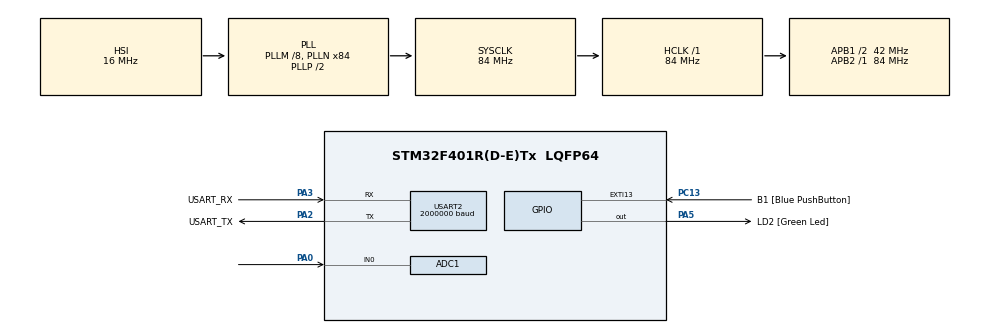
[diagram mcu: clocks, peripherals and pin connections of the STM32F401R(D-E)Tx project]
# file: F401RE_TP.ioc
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ADC1.Channel-0\#ChannelRegularConversion=ADC_CHANNEL_0
ADC1.NbrOfConversionFlag=1
ADC1.Rank-0\#ChannelRegularConversion=1
ADC1.SamplingTime-0\#ChannelRegularConversion=ADC_SAMPLETIME_3CYCLES
ADC1.master=1
Mcu.Family=STM32F4
Mcu.Name=STM32F401R(D-E)Tx
Mcu.Package=LQFP64
NVIC.ADC_IRQn=true\:0\:0\:false\:false\:true\:true\:true\:true
NVIC.EXTI15_10_IRQn=true\:0\:0\:false\:false\:true\:true\:true\:true
NVIC.PriorityGroup=NVIC_PRIORITYGROUP_1
NVIC.TIM1_UP_TIM10_IRQn=true\:1\:0\:true\:false\:true\:true\:true\:true
NVIC.TIM3_IRQn=true\:0\:0\:false\:false\:true\:true\:true\:true
NVIC.TIM4_IRQn=true\:0\:0\:false\:false\:true\:true\:true\:true
NVIC.USART2_IRQn=true\:0\:0\:false\:false\:true\:true\:true\:true
PA0-WKUP.Signal=ADCx_IN0
PA13.GPIO_Label=TMS
PA13.Mode=Serial_Wire
PA13.Signal=SYS_JTMS-SWDIO
PA14.GPIO_Label=TCK
PA14.Mode=Serial_Wire
PA14.Signal=SYS_JTCK-SWCLK
PA2.GPIO_Label=USART_TX
PA2.GPIO_Mode=GPIO_MODE_AF_PP
PA2.GPIO_PuPd=GPIO_NOPULL
PA2.GPIO_Speed=GPIO_SPEED_FREQ_LOW
PA2.Mode=Asynchronous
PA2.Signal=USART2_TX
PA3.GPIO_Label=USART_RX
PA3.GPIO_Mode=GPIO_MODE_AF_PP
PA3.GPIO_PuPd=GPIO_NOPULL
PA3.GPIO_Speed=GPIO_SPEED_FREQ_LOW
PA3.Mode=Asynchronous
PA3.Signal=USART2_RX
PA5.GPIO_Label=LD2 [Green Led]
PA5.GPIO_Mode=GPIO_MODE_OUTPUT_PP
PA5.GPIO_PuPd=GPIO_NOPULL
PA5.GPIO_Speed=GPIO_SPEED_FREQ_LOW
PA5.Signal=GPIO_Output
PB3.GPIO_Label=SWO
PB3.Signal=SYS_JTDO-SWO
PC13-ANTI_TAMP.GPIO_Label=B1 [Blue PushButton]
PC13-ANTI_TAMP.GPIO_ModeDefaultEXTI=GPIO_MODE_IT_FALLING
PC13-ANTI_TAMP.GPIO_PuPd=GPIO_NOPULL
PC13-ANTI_TAMP.Signal=GPXTI13
PC14-OSC32_IN.Mode=LSE-External-Oscillator
PC14-OSC32_IN.Signal=RCC_OSC32_IN
PC15-OSC32_OUT.Mode=LSE-External-Oscillator
PC15-OSC32_OUT.Signal=RCC_OSC32_OUT
PH0\ -\ OSC_IN.Mode=HSE-External-Clock-Source
PH0\ -\ OSC_IN.Signal=RCC_OSC_IN
PH1\ -\ OSC_OUT.Mode=HSE-External-Clock-Source
PH1\ -\ OSC_OUT.Signal=RCC_OSC_OUT
ProjectManager.HeapSize=0x200
ProjectManager.StackSize=0x400
ProjectManager.TargetToolchain=STM32CubeIDE
RCC.48MHZClocksFreq_Value=24000000
RCC.AHBFreq_Value=84000000
RCC.APB1CLKDivider=RCC_HCLK_DIV2
RCC.APB1Freq_Value=42000000
RCC.APB1TimFreq_Value=84000000
RCC.APB2Freq_Value=84000000
RCC.APB2TimFreq_Value=84000000
RCC.CortexFreq_Value=84000000
RCC.HCLKFreq_Value=84000000
RCC.HSE_VALUE=8000000
RCC.HSI_VALUE=16000000
RCC.PLLM=8
RCC.PLLN=84
RCC.PLLQ=7
RCC.SYSCLKFreq_VALUE=84000000
RCC.SYSCLKSource=RCC_SYSCLKSOURCE_PLLCLK
RCC.VCOOutputFreq_Value=168000000
SH.ADCx_IN0.0=ADC1_IN0,IN0
TIM1.Period=5000-1
TIM1.Prescaler=8400-1
TIM2.AutoReloadPreload=TIM_AUTORELOAD_PRELOAD_DISABLE
TIM2.Period=4294967296-1
TIM2.Prescaler=84-1
TIM3.Period=62-1
TIM3.Prescaler=84-1
TIM4.Period=10-1
TIM4.Prescaler=84-1
USART2.BaudRate=2000000
USART2.VirtualMode=VM_ASYNC
VP_TIM1_VS_ClockSourceINT.Mode=Internal
VP_TIM2_VS_ClockSourceINT.Mode=Internal
VP_TIM3_VS_ClockSourceINT.Mode=Internal
VP_TIM4_VS_ClockSourceINT.Mode=Internal
board=NUCLEO-F401RE

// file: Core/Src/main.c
/* USER CODE BEGIN Header */
/**
  ******************************************************************************
  * @file           : main.c
  * @brief          : Main program body
  ******************************************************************************
  * @attention
  *
  * Copyright (c) 2022 STMicroelectronics.
  * All rights reserved.
  *
  * This software is licensed under terms that can be found in the LICENSE file
  * in the root directory of this software component.
  * If no LICENSE file comes with this software, it is provided AS-IS.
  *
  ******************************************************************************
  */
/* USER CODE END Header */
#include "main.h"

/* USER CODE BEGIN Includes */
#include "serial.h"
#include "TESTW02.h"
/* USER CODE END Includes */

ADC_HandleTypeDef hadc1;

TIM_HandleTypeDef htim1;
TIM_HandleTypeDef htim2;
TIM_HandleTypeDef htim3;
TIM_HandleTypeDef htim4;

UART_HandleTypeDef huart2;

/* USER CODE BEGIN PV */
uint8_t globalCounter=0;
double tenH[100];
double twoH[100];
uint32_t adcVal=0;
uint8_t recieved[5];
uint8_t selector=0;
/* USER CODE END PV */

void SystemClock_Config(void);
static void MX_GPIO_Init(void);
static void MX_USART2_UART_Init(void);
static void MX_TIM1_Init(void);
static void MX_TIM2_Init(void);
static void MX_TIM3_Init(void);
static void MX_ADC1_Init(void);
static void MX_TIM4_Init(void);

int main(void)
{

  /* MCU Configuration--------------------------------------------------------*/

  /* Reset of all peripherals, Initializes the Flash interface and the Systick. */
  HAL_Init();

  /* Configure the system clock */
  SystemClock_Config();

  /* Initialize all configured peripherals */
  MX_GPIO_Init();
  MX_USART2_UART_Init();
  MX_TIM1_Init();
  MX_TIM2_Init();
  MX_TIM3_Init();
  MX_ADC1_Init();
  MX_TIM4_Init();
  /* USER CODE BEGIN 2 */
  HAL_TIM_Base_Start_IT(&htim1);
  HAL_TIM_Base_Start_IT(&htim3);
  HAL_TIM_Base_Start_IT(&htim4);
  HAL_UART_Receive_IT(&huart2, recieved, 5);
  HAL_TIM_Base_Start(&htim2);
  test(24, 4.216);
  /* USER CODE END 2 */

  /* Infinite loop */
  /* USER CODE BEGIN WHILE */
  while (1)
  {
	  HAL_Delay(100);
	  SERIAL_SendInt(adcVal);
	  SERIAL_SendNL();
    /* USER CODE END WHILE */

  }
}

void SystemClock_Config(void)
{
  RCC_OscInitTypeDef RCC_OscInitStruct = {0};
  RCC_ClkInitTypeDef RCC_ClkInitStruct = {0};

  /** Configure the main internal regulator output voltage
  */
  __HAL_RCC_PWR_CLK_ENABLE();
  __HAL_PWR_VOLTAGESCALING_CONFIG(PWR_REGULATOR_VOLTAGE_SCALE2);

  /** Initializes the RCC Oscillators according to the specified parameters
  * in the RCC_OscInitTypeDef structure.
  */
  RCC_OscInitStruct.OscillatorType = RCC_OSCILLATORTYPE_HSI;
  RCC_OscInitStruct.HSIState = RCC_HSI_ON;
  RCC_OscInitStruct.HSICalibrationValue = RCC_HSICALIBRATION_DEFAULT;
  RCC_OscInitStruct.PLL.PLLState = RCC_PLL_ON;
  RCC_OscInitStruct.PLL.PLLSource = RCC_PLLSOURCE_HSI;
  RCC_OscInitStruct.PLL.PLLM = 8;
  RCC_OscInitStruct.PLL.PLLN = 84;
  RCC_OscInitStruct.PLL.PLLP = RCC_PLLP_DIV2;
  RCC_OscInitStruct.PLL.PLLQ = 7;
  if (HAL_RCC_OscConfig(&RCC_OscInitStruct) != HAL_OK)
  {
    Error_Handler();
  }

  /** Initializes the CPU, AHB and APB buses clocks
  */
  RCC_ClkInitStruct.ClockType = RCC_CLOCKTYPE_HCLK|RCC_CLOCKTYPE_SYSCLK
                              |RCC_CLOCKTYPE_PCLK1|RCC_CLOCKTYPE_PCLK2;
  RCC_ClkInitStruct.SYSCLKSource = RCC_SYSCLKSOURCE_PLLCLK;
  RCC_ClkInitStruct.AHBCLKDivider = RCC_SYSCLK_DIV1;
  RCC_ClkInitStruct.APB1CLKDivider = RCC_HCLK_DIV2;
  RCC_ClkInitStruct.APB2CLKDivider = RCC_HCLK_DIV1;

  if (HAL_RCC_ClockConfig(&RCC_ClkInitStruct, FLASH_LATENCY_2) != HAL_OK)
  {
    Error_Handler();
  }
}

static void MX_ADC1_Init(void)
{

  ADC_ChannelConfTypeDef sConfig = {0};

  /** Configure the global features of the ADC (Clock, Resolution, Data Alignment and number of conversion)
  */
  hadc1.Instance = ADC1;
  hadc1.Init.ClockPrescaler = ADC_CLOCK_SYNC_PCLK_DIV4;
  hadc1.Init.Resolution = ADC_RESOLUTION_12B;
  hadc1.Init.ScanConvMode = DISABLE;
  hadc1.Init.ContinuousConvMode = DISABLE;
  hadc1.Init.DiscontinuousConvMode = DISABLE;
  hadc1.Init.ExternalTrigConvEdge = ADC_EXTERNALTRIGCONVEDGE_NONE;
  hadc1.Init.ExternalTrigConv = ADC_SOFTWARE_START;
  hadc1.Init.DataAlign = ADC_DATAALIGN_RIGHT;
  hadc1.Init.NbrOfConversion = 1;
  hadc1.Init.DMAContinuousRequests = DISABLE;
  hadc1.Init.EOCSelection = ADC_EOC_SINGLE_CONV;
  if (HAL_ADC_Init(&hadc1) != HAL_OK)
  {
    Error_Handler();
  }

  /** Configure for the selected ADC regular channel its corresponding rank in the sequencer and its sample time.
  */
  sConfig.Channel = ADC_CHANNEL_0;
  sConfig.Rank = 1;
  sConfig.SamplingTime = ADC_SAMPLETIME_3CYCLES;
  if (HAL_ADC_ConfigChannel(&hadc1, &sConfig) != HAL_OK)
  {
    Error_Handler();
  }

}

static void MX_TIM1_Init(void)
{

  TIM_ClockConfigTypeDef sClockSourceConfig = {0};
  TIM_MasterConfigTypeDef sMasterConfig = {0};

  htim1.Instance = TIM1;
  htim1.Init.Prescaler = 8400-1;
  htim1.Init.CounterMode = TIM_COUNTERMODE_UP;
  htim1.Init.Period = 5000-1;
  htim1.Init.ClockDivision = TIM_CLOCKDIVISION_DIV1;
  htim1.Init.RepetitionCounter = 0;
  htim1.Init.AutoReloadPreload = TIM_AUTORELOAD_PRELOAD_DISABLE;
  if (HAL_TIM_Base_Init(&htim1) != HAL_OK)
  {
    Error_Handler();
  }
  sClockSourceConfig.ClockSource = TIM_CLOCKSOURCE_INTERNAL;
  if (HAL_TIM_ConfigClockSource(&htim1, &sClockSourceConfig) != HAL_OK)
  {
    Error_Handler();
  }
  sMasterConfig.MasterOutputTrigger = TIM_TRGO_RESET;
  sMasterConfig.MasterSlaveMode = TIM_MASTERSLAVEMODE_DISABLE;
  if (HAL_TIMEx_MasterConfigSynchronization(&htim1, &sMasterConfig) != HAL_OK)
  {
    Error_Handler();
  }

}

static void MX_TIM2_Init(void)
{

  TIM_ClockConfigTypeDef sClockSourceConfig = {0};
  TIM_MasterConfigTypeDef sMasterConfig = {0};

  htim2.Instance = TIM2;
  htim2.Init.Prescaler = 84-1;
  htim2.Init.CounterMode = TIM_COUNTERMODE_UP;
  htim2.Init.Period = 4294967296-1;
  htim2.Init.ClockDivision = TIM_CLOCKDIVISION_DIV1;
  htim2.Init.AutoReloadPreload = TIM_AUTORELOAD_PRELOAD_DISABLE;
  if (HAL_TIM_Base_Init(&htim2) != HAL_OK)
  {
    Error_Handler();
  }
  sClockSourceConfig.ClockSource = TIM_CLOCKSOURCE_INTERNAL;
  if (HAL_TIM_ConfigClockSource(&htim2, &sClockSourceConfig) != HAL_OK)
  {
    Error_Handler();
  }
  sMasterConfig.MasterOutputTrigger = TIM_TRGO_RESET;
  sMasterConfig.MasterSlaveMode = TIM_MASTERSLAVEMODE_DISABLE;
  if (HAL_TIMEx_MasterConfigSynchronization(&htim2, &sMasterConfig) != HAL_OK)
  {
    Error_Handler();
  }

}

static void MX_TIM3_Init(void)
{

  TIM_ClockConfigTypeDef sClockSourceConfig = {0};
  TIM_MasterConfigTypeDef sMasterConfig = {0};

  htim3.Instance = TIM3;
  htim3.Init.Prescaler = 84-1;
  htim3.Init.CounterMode = TIM_COUNTERMODE_UP;
  htim3.Init.Period = 62-1;
  htim3.Init.ClockDivision = TIM_CLOCKDIVISION_DIV1;
  htim3.Init.AutoReloadPreload = TIM_AUTORELOAD_PRELOAD_DISABLE;
  if (HAL_TIM_Base_Init(&htim3) != HAL_OK)
  {
    Error_Handler();
  }
  sClockSourceConfig.ClockSource = TIM_CLOCKSOURCE_INTERNAL;
  if (HAL_TIM_ConfigClockSource(&htim3, &sClockSourceConfig) != HAL_OK)
  {
    Error_Handler();
  }
  sMasterConfig.MasterOutputTrigger = TIM_TRGO_RESET;
  sMasterConfig.MasterSlaveMode = TIM_MASTERSLAVEMODE_DISABLE;
  if (HAL_TIMEx_MasterConfigSynchronization(&htim3, &sMasterConfig) != HAL_OK)
  {
    Error_Handler();
  }

}

static void MX_TIM4_Init(void)
{

  TIM_ClockConfigTypeDef sClockSourceConfig = {0};
  TIM_MasterConfigTypeDef sMasterConfig = {0};

  htim4.Instance = TIM4;
  htim4.Init.Prescaler = 84-1;
  htim4.Init.CounterMode = TIM_COUNTERMODE_UP;
  htim4.Init.Period = 10-1;
  htim4.Init.ClockDivision = TIM_CLOCKDIVISION_DIV1;
  htim4.Init.AutoReloadPreload = TIM_AUTORELOAD_PRELOAD_DISABLE;
  if (HAL_TIM_Base_Init(&htim4) != HAL_OK)
  {
    Error_Handler();
  }
  sClockSourceConfig.ClockSource = TIM_CLOCKSOURCE_INTERNAL;
  if (HAL_TIM_ConfigClockSource(&htim4, &sClockSourceConfig) != HAL_OK)
  {
    Error_Handler();
  }
  sMasterConfig.MasterOutputTrigger = TIM_TRGO_RESET;
  sMasterConfig.MasterSlaveMode = TIM_MASTERSLAVEMODE_DISABLE;
  if (HAL_TIMEx_MasterConfigSynchronization(&htim4, &sMasterConfig) != HAL_OK)
  {
    Error_Handler();
  }

}

static void MX_USART2_UART_Init(void)
{

  huart2.Instance = USART2;
  huart2.Init.BaudRate = 2000000;
  huart2.Init.WordLength = UART_WORDLENGTH_8B;
  huart2.Init.StopBits = UART_STOPBITS_1;
  huart2.Init.Parity = UART_PARITY_NONE;
  huart2.Init.Mode = UART_MODE_TX_RX;
  huart2.Init.HwFlowCtl = UART_HWCONTROL_NONE;
  huart2.Init.OverSampling = UART_OVERSAMPLING_16;
  if (HAL_UART_Init(&huart2) != HAL_OK)
  {
    Error_Handler();
  }

}

static void MX_GPIO_Init(void)
{
  GPIO_InitTypeDef GPIO_InitStruct = {0};

  /* GPIO Ports Clock Enable */
  __HAL_RCC_GPIOC_CLK_ENABLE();
  __HAL_RCC_GPIOH_CLK_ENABLE();
  __HAL_RCC_GPIOA_CLK_ENABLE();
  __HAL_RCC_GPIOB_CLK_ENABLE();

  /*Configure GPIO pin Output Level */
  HAL_GPIO_WritePin(LD2_GPIO_Port, LD2_Pin, GPIO_PIN_RESET);

  /*Configure GPIO pin : B1_Pin */
  GPIO_InitStruct.Pin = B1_Pin;
  GPIO_InitStruct.Mode = GPIO_MODE_IT_FALLING;
  GPIO_InitStruct.Pull = GPIO_NOPULL;
  HAL_GPIO_Init(B1_GPIO_Port, &GPIO_InitStruct);

  /*Configure GPIO pin : LD2_Pin */
  GPIO_InitStruct.Pin = LD2_Pin;
  GPIO_InitStruct.Mode = GPIO_MODE_OUTPUT_PP;
  GPIO_InitStruct.Pull = GPIO_NOPULL;
  GPIO_InitStruct.Speed = GPIO_SPEED_FREQ_LOW;
  HAL_GPIO_Init(LD2_GPIO_Port, &GPIO_InitStruct);

  /* EXTI interrupt init*/
  HAL_NVIC_SetPriority(EXTI15_10_IRQn, 0, 0);
  HAL_NVIC_EnableIRQ(EXTI15_10_IRQn);

}

void Error_Handler(void)
{
  __disable_irq();
  while (1)
  {
  }
}
